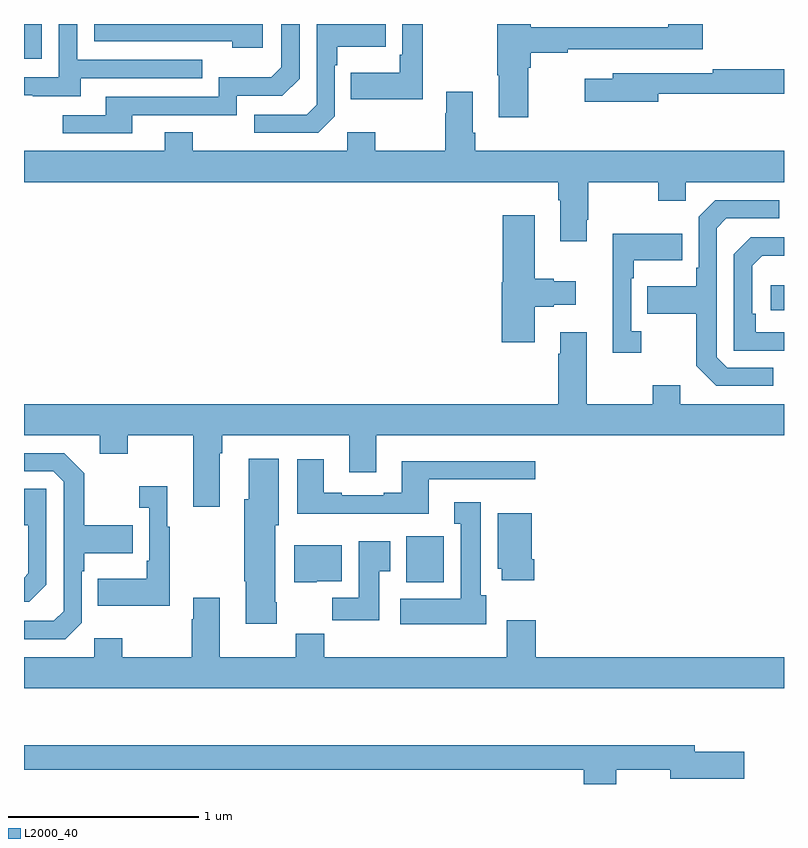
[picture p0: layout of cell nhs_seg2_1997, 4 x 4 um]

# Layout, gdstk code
import gdstk
lib = gdstk.Library(unit=1e-6, precision=1e-09)
def R(c, l, rs):  # rectangles x0, y0, x1, y1
    for r in rs: c.add(gdstk.rectangle(r[:2], r[2:], *l))
def P(c, l, *ps):  # polygons
    for p in ps: c.add(gdstk.Polygon(p, *l))
L2000_40 = (2000, 40)

nhs_seg2_1997 = lib.new_cell('nhs_seg2_1997')
R(nhs_seg2_1997, L2000_40, [(217.013,646.862,217.21,647.104), (218.931,648.294,219,648.424), (215,649.617,215.094,649.8)])
P(nhs_seg2_1997, L2000_40, [(217.099,649.8),(216.99,649.8),(216.99,649.639),(216.978,649.639),(216.978,649.543),(216.721,649.543),(216.721,649.403),(217.099,649.403)],
  [(216.636,649.314),(216.636,649.583),(216.649,649.583),(216.649,649.679),(216.905,649.679),(216.905,649.8),(216.54,649.8),(216.54,649.374),(216.489,649.323),(216.213,649.323),(216.213,649.227),(216.549,649.227)],
  [(215.569,649.32),(216.12,649.32),(216.12,649.422),(216.36,649.422),(216.45,649.512),(216.45,649.8),(216.354,649.8),(216.354,649.572),(216.301,649.519),(216.024,649.519),(216.024,649.416),(215.429,649.416),(215.429,649.32),(215.205,649.32),(215.205,649.224),(215.569,649.224)],
  [(217.654,649.571),(217.667,649.571),(217.667,649.648),(217.862,649.648),(217.862,649.668),(218.573,649.668),(218.573,649.8),(218.39,649.8),(218.39,649.784),(217.667,649.784),(217.667,649.8),(217.492,649.8),(217.492,649.531),(217.499,649.531),(217.499,649.308),(217.654,649.308)],
  [(216.256,649.8),(215.37,649.8),(215.37,649.71),(216.095,649.71),(216.095,649.676),(216.256,649.676)],
  [(215.299,649.515),(215.939,649.515),(215.939,649.611),(215.28,649.611),(215.28,649.8),(215.184,649.8),(215.184,649.521),(215,649.521),(215,649.425),(215.045,649.425),(215.045,649.421),(215.299,649.421)],
  [(218.338,649.434),(219,649.434),(219,649.562),(218.626,649.562),(218.626,649.542),(218.099,649.542),(218.099,649.513),(217.95,649.513),(217.95,649.391),(218.338,649.391)],
  [(217.963,648.769),(217.971,648.769),(217.971,648.968),(218.338,648.968),(218.338,648.869),(218.484,648.869),(218.484,648.968),(219,648.968),(219,649.132),(217.376,649.132),(217.376,649.228),(217.363,649.228),(217.363,649.444),(217.223,649.444),(217.223,649.331),(217.216,649.331),(217.216,649.132),(216.849,649.132),(216.849,649.231),(216.702,649.231),(216.702,649.132),(215.889,649.132),(215.889,649.231),(215.741,649.231),(215.741,649.132),(215,649.132),(215,648.968),(217.811,648.968),(217.811,648.872),(217.823,648.872),(217.823,648.657),(217.963,648.657)],
  [(218.944,647.991),(218.7,647.991),(218.646,648.045),(218.646,648.726),(218.697,648.777),(218.974,648.777),(218.974,648.873),(218.637,648.873),(218.55,648.786),(218.55,648.517),(218.538,648.517),(218.538,648.421),(218.281,648.421),(218.281,648.274),(218.538,648.274),(218.538,648.001),(218.643,647.895),(218.944,647.895)],
  [(217.687,648.311),(217.787,648.311),(217.787,648.323),(217.903,648.323),(217.903,648.445),(217.787,648.445),(217.787,648.458),(217.687,648.458),(217.687,648.793),(217.52,648.793),(217.52,648.441),(217.514,648.441),(217.514,648.126),(217.687,648.126)],
  [(218.248,648.182),(218.196,648.182),(218.196,648.461),(218.209,648.461),(218.209,648.557),(218.465,648.557),(218.465,648.697),(218.099,648.697),(218.099,648.069),(218.248,648.069)],
  [(219,648.177),(218.852,648.177),(218.852,648.274),(218.832,648.274),(218.832,648.528),(218.885,648.581),(219,648.581),(219,648.678),(218.826,648.678),(218.736,648.588),(218.736,648.081),(219,648.081)],
  [(216.031,647.54),(216.044,647.54),(216.044,647.636),(216.713,647.636),(216.713,647.442),(216.853,647.442),(216.853,647.636),(219,647.636),(219,647.8),(218.455,647.8),(218.455,647.899),(218.308,647.899),(218.308,647.8),(217.963,647.8),(217.963,648.178),(217.823,648.178),(217.823,648.065),(217.811,648.065),(217.811,647.8),(215,647.8),(215,647.636),(215.399,647.636),(215.399,647.537),(215.547,647.537),(215.547,647.636),(215.891,647.636),(215.891,647.259),(216.031,647.259)],
  [(215.304,646.65),(215.304,646.919),(215.317,646.919),(215.317,647.015),(215.573,647.015),(215.573,647.163),(215.317,647.163),(215.317,647.435),(215.211,647.541),(215,647.541),(215,647.445),(215.154,647.445),(215.208,647.391),(215.208,646.71),(215.157,646.659),(215,646.659),(215,646.563),(215.217,646.563)],
  [(216.33,646.756),(216.322,646.756),(216.322,647.163),(216.34,647.163),(216.34,647.512),(216.182,647.512),(216.182,647.298),(216.16,647.298),(216.16,646.867),(216.167,646.867),(216.167,646.644),(216.33,646.644)],
  [(217.129,647.403),(217.69,647.403),(217.69,647.5),(216.989,647.5),(216.989,647.332),(216.893,647.332),(216.893,647.319),(216.673,647.319),(216.673,647.332),(216.577,647.332),(216.577,647.509),(216.437,647.509),(216.437,647.222),(217.129,647.222)],
  [(215.767,647.155),(215.755,647.155),(215.755,647.368),(215.607,647.368),(215.607,647.255),(215.658,647.255),(215.658,646.975),(215.646,646.975),(215.646,646.879),(215.389,646.879),(215.389,646.739),(215.767,646.739)],
  [(215.118,646.848),(215.118,647.355),(215,647.355),(215,647.259),(215.002,647.259),(215.002,647.162),(215.022,647.162),(215.022,646.908),(215,646.886),(215,646.758),(215.028,646.758)],
  [(217.432,646.794),(217.405,646.794),(217.405,647.284),(217.265,647.284),(217.265,647.171),(217.298,647.171),(217.298,646.774),(216.981,646.774),(216.981,646.64),(217.432,646.64)],
  [(217.685,646.984),(217.672,646.984),(217.672,647.224),(217.493,647.224),(217.493,646.932),(217.514,646.932),(217.514,646.872),(217.685,646.872)],
  [(216.871,646.921),(216.928,646.921),(216.928,647.077),(216.761,647.077),(216.761,646.78),(216.622,646.78),(216.622,646.662),(216.871,646.662)],
  [(216.54,646.868),(216.673,646.868),(216.673,647.056),(216.422,647.056),(216.422,646.862),(216.54,646.862)],
  [(219,646.468),(217.694,646.468),(217.694,646.663),(217.541,646.663),(217.541,646.468),(216.581,646.468),(216.581,646.592),(216.43,646.592),(216.43,646.468),(216.031,646.468),(216.031,646.78),(215.891,646.78),(215.891,646.667),(215.884,646.667),(215.884,646.468),(215.517,646.468),(215.517,646.567),(215.37,646.567),(215.37,646.468),(215,646.468),(215,646.304),(219,646.304)],
  [(218.116,645.874),(218.402,645.874),(218.402,645.827),(218.791,645.827),(218.791,645.969),(218.53,645.969),(218.53,646.003),(215,646.003),(215,645.874),(217.946,645.874),(217.946,645.8),(218.116,645.8)])

lib.write_gds('nhs_seg2_1997.gds')
